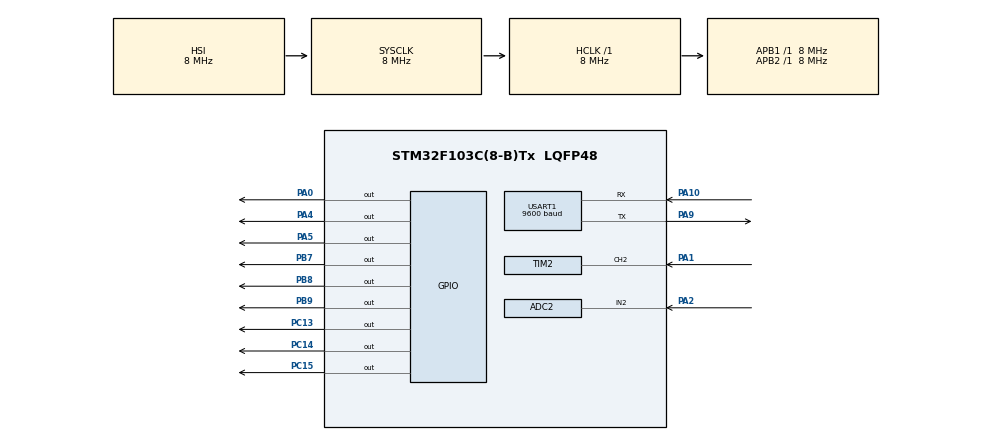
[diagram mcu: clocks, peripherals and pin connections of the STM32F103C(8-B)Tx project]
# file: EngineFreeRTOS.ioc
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ADC2.Channel-3\#ChannelRegularConversion=ADC_CHANNEL_2
ADC2.ContinuousConvMode=ENABLE
ADC2.EnableRegularConversion=ENABLE
ADC2.InjNumberOfConversion=0
ADC2.NbrOfConversion=1
ADC2.NbrOfConversionFlag=1
ADC2.Rank-3\#ChannelRegularConversion=1
ADC2.SamplingTime-3\#ChannelRegularConversion=ADC_SAMPLETIME_28CYCLES_5
FREERTOS.Tasks01=defaultTask,0,128,StartDefaultTask,Default,NULL
Mcu.Family=STM32F1
Mcu.Name=STM32F103C(8-B)Tx
Mcu.Package=LQFP48
NVIC.PriorityGroup=NVIC_PRIORITYGROUP_4
NVIC.TIM2_IRQn=true\:5\:0\:false\:false\:true\:true
PA0-WKUP.PinState=GPIO_PIN_SET
PA0-WKUP.Signal=GPIO_Output
PA1.Signal=S_TIM2_CH2
PA10.Mode=Asynchronous
PA10.Signal=USART1_RX
PA13.Mode=Serial_Wire
PA13.Signal=SYS_JTMS-SWDIO
PA14.Mode=Serial_Wire
PA14.Signal=SYS_JTCK-SWCLK
PA2.Signal=ADCx_IN2
PA4.GPIO_ModeDefaultOutputPP=GPIO_MODE_OUTPUT_PP
PA4.PinState=GPIO_PIN_SET
PA4.Signal=GPIO_Output
PA5.GPIO_ModeDefaultOutputPP=GPIO_MODE_OUTPUT_PP
PA5.PinState=GPIO_PIN_SET
PA5.Signal=GPIO_Output
PA9.Mode=Asynchronous
PA9.Signal=USART1_TX
PB7.Signal=GPIO_Output
PB8.Signal=GPIO_Output
PB9.Signal=GPIO_Output
PC13-TAMPER-RTC.Signal=GPIO_Output
PC14-OSC32_IN.Signal=GPIO_Output
PC15-OSC32_OUT.PinState=GPIO_PIN_SET
PC15-OSC32_OUT.Signal=GPIO_Output
ProjectManager.HeapSize=0x200
ProjectManager.StackSize=0x400
ProjectManager.TargetToolchain=TrueSTUDIO
RCC.AHBFreq_Value=8000000
RCC.APB1Freq_Value=8000000
RCC.APB1TimFreq_Value=8000000
RCC.APB2Freq_Value=8000000
RCC.APB2TimFreq_Value=8000000
RCC.HCLKFreq_Value=8000000
RCC.PLLMUL=RCC_PLL_MUL3
RCC.SYSCLKFreq_VALUE=8000000
RCC.USBFreq_Value=12000000
SH.ADCx_IN2.0=ADC2_IN2,IN2
SH.S_TIM2_CH2.0=TIM2_CH2,Input_Capture2_from_TI2
TIM2.Channel-Input_Capture2_from_TI2=TIM_CHANNEL_2
TIM2.Channel-Output\ Compare3\ No\ Output=TIM_CHANNEL_3
TIM2.Channel-Output\ Compare4\ No\ Output=TIM_CHANNEL_4
TIM2.ICFilter_CH2=15
TIM2.OCMode_3=TIM_OCMODE_ACTIVE
TIM2.OCMode_4=TIM_OCMODE_ACTIVE
TIM2.Period=65535
TIM2.Prescaler=79
TIM2.Pulse-Output\ Compare3\ No\ Output=0
TIM2.TIM_MasterOutputTrigger=TIM_TRGO_RESET
USART1.BaudRate=9600
USART1.Mode=MODE_TX_RX
VP_FREERTOS_VS_ENABLE.Mode=Enabled
VP_TIM2_VS_no_output3.Mode=Output Compare3 No Output
VP_TIM2_VS_no_output4.Mode=Output Compare4 No Output
board=EngineFreeRTOS

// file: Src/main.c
/**
  ******************************************************************************
  * File Name          : main.c
  * Description        : Main program body
  ******************************************************************************
  *
  * Copyright (c) 2017 STMicroelectronics International N.V.
  * All rights reserved.
  *
  * Redistribution and use in source and binary forms, with or without
  * modification, are permitted, provided that the following conditions are met:
  *
  * 1. Redistribution of source code must retain the above copyright notice,
  *    this list of conditions and the following disclaimer.
  * 2. Redistributions in binary form must reproduce the above copyright notice,
  *    this list of conditions and the following disclaimer in the documentation
  *    and/or other materials provided with the distribution.
  * 3. Neither the name of STMicroelectronics nor the names of other
  *    contributors to this software may be used to endorse or promote products
  *    derived from this software without specific written permission.
  * 4. This software, including modifications and/or derivative works of this
  *    software, must execute solely and exclusively on microcontroller or
  *    microprocessor devices manufactured by or for STMicroelectronics.
  * 5. Redistribution and use of this software other than as permitted under
  *    this license is void and will automatically terminate your rights under
  *    this license.
  *
  * THIS SOFTWARE IS PROVIDED BY STMICROELECTRONICS AND CONTRIBUTORS "AS IS"
  * AND ANY EXPRESS, IMPLIED OR STATUTORY WARRANTIES, INCLUDING, BUT NOT
  * LIMITED TO, THE IMPLIED WARRANTIES OF MERCHANTABILITY, FITNESS FOR A
  * PARTICULAR PURPOSE AND NON-INFRINGEMENT OF THIRD PARTY INTELLECTUAL PROPERTY
  * RIGHTS ARE DISCLAIMED TO THE FULLEST EXTENT PERMITTED BY LAW. IN NO EVENT
  * SHALL STMICROELECTRONICS OR CONTRIBUTORS BE LIABLE FOR ANY DIRECT, INDIRECT,
  * INCIDENTAL, SPECIAL, EXEMPLARY, OR CONSEQUENTIAL DAMAGES (INCLUDING, BUT NOT
  * LIMITED TO, PROCUREMENT OF SUBSTITUTE GOODS OR SERVICES; LOSS OF USE, DATA,
  * OR PROFITS; OR BUSINESS INTERRUPTION) HOWEVER CAUSED AND ON ANY THEORY OF
  * LIABILITY, WHETHER IN CONTRACT, STRICT LIABILITY, OR TORT (INCLUDING
  * NEGLIGENCE OR OTHERWISE) ARISING IN ANY WAY OUT OF THE USE OF THIS SOFTWARE,
  * EVEN IF ADVISED OF THE POSSIBILITY OF SUCH DAMAGE.
  *
  ******************************************************************************
  */
#include "main.h"
#include "stm32f1xx_hal.h"
#include "cmsis_os.h"

/* USER CODE BEGIN Includes */
//#define configSUPPORT_DYNAMIC_ALLOCATION  1
#include "leds.h"
#include "buttons.h"
#include "engine.h"
/* USER CODE END Includes */

ADC_HandleTypeDef hadc2;

TIM_HandleTypeDef htim2;

UART_HandleTypeDef huart1;

osThreadId defaultTaskHandle;

/* USER CODE BEGIN PV */
/* Private variables ---------------------------------------------------------*/
xQueueHandle semistorCompareQueue;
osThreadId handleMainButtonTask;
osThreadId handleMainEngineTask;
uint8_t transmitBuffer[64];
/* USER CODE END PV */

void SystemClock_Config(void);
void Error_Handler(void);
static void MX_GPIO_Init(void);
static void MX_TIM2_Init(void);
static void MX_USART1_UART_Init(void);
static void MX_ADC2_Init(void);
void StartDefaultTask(void const * argument);

/* USER CODE BEGIN PFP */
/* Private function prototypes -----------------------------------------------*/

/* USER CODE END PFP */

int main(void)
{

  /* MCU Configuration----------------------------------------------------------*/

  /* Reset of all peripherals, Initializes the Flash interface and the Systick. */
  HAL_Init();

  /* Configure the system clock */
  SystemClock_Config();

  /* Initialize all configured peripherals */
  MX_GPIO_Init();
  MX_TIM2_Init();
  MX_USART1_UART_Init();
  MX_ADC2_Init();

  /* USER CODE BEGIN 2 */
	semistorCompareQueue = xQueueCreate(2, sizeof(uint32_t));

	HAL_TIM_Base_Start_IT(&htim2);
//	HAL_TIM_Base_Start(&htim3);
//	HAL_TIM_PWM_Start(&htim3, TIM_CHANNEL_1);
	HAL_TIM_IC_Start_IT(&htim2, TIM_CHANNEL_2);
	HAL_TIM_OC_Start_IT(&htim2, TIM_CHANNEL_3);
	HAL_TIM_OC_Start_IT(&htim2, TIM_CHANNEL_4);

	HAL_ADCEx_Calibration_Start(&hadc2);
	HAL_ADC_Start(&hadc2);
  /* USER CODE END 2 */

  /* USER CODE BEGIN RTOS_SEMAPHORES */
	/* add semaphores, ... */
	//vSemaphoreCreateBinary(zeroCross);
  /* USER CODE END RTOS_SEMAPHORES */

  /* Create the thread(s) */
  /* definition and creation of defaultTask */
  osThreadDef(defaultTask, StartDefaultTask, osPriorityNormal, 0, 128);
  defaultTaskHandle = osThreadCreate(osThread(defaultTask), NULL);

  /* USER CODE BEGIN RTOS_THREADS */
	  /* add threads, ... */
	osThreadDef(mainButtonTask, StartMainButtonTask, osPriorityNormal, 0, 128);
	handleMainButtonTask = osThreadCreate(osThread(mainButtonTask), &hadc2);

	osThreadDef(mainEngineTask, StartMainEngineTask, osPriorityNormal, 0, 128);
	handleMainEngineTask = osThreadCreate(osThread(mainEngineTask), NULL);
  /* USER CODE END RTOS_THREADS */

  /* Start scheduler */
  osKernelStart();

  /* We should never get here as control is now taken by the scheduler */

  /* Infinite loop */
	while (1)
	{

	}

}

/** System Clock Configuration
*/
void SystemClock_Config(void)
{

  RCC_OscInitTypeDef RCC_OscInitStruct;
  RCC_ClkInitTypeDef RCC_ClkInitStruct;
  RCC_PeriphCLKInitTypeDef PeriphClkInit;

    /**Initializes the CPU, AHB and APB busses clocks
    */
  RCC_OscInitStruct.OscillatorType = RCC_OSCILLATORTYPE_HSI;
  RCC_OscInitStruct.HSIState = RCC_HSI_ON;
  RCC_OscInitStruct.HSICalibrationValue = 16;
  RCC_OscInitStruct.PLL.PLLState = RCC_PLL_NONE;
  if (HAL_RCC_OscConfig(&RCC_OscInitStruct) != HAL_OK)
  {
    Error_Handler();
  }

    /**Initializes the CPU, AHB and APB busses clocks
    */
  RCC_ClkInitStruct.ClockType = RCC_CLOCKTYPE_HCLK|RCC_CLOCKTYPE_SYSCLK
                              |RCC_CLOCKTYPE_PCLK1|RCC_CLOCKTYPE_PCLK2;
  RCC_ClkInitStruct.SYSCLKSource = RCC_SYSCLKSOURCE_HSI;
  RCC_ClkInitStruct.AHBCLKDivider = RCC_SYSCLK_DIV1;
  RCC_ClkInitStruct.APB1CLKDivider = RCC_HCLK_DIV1;
  RCC_ClkInitStruct.APB2CLKDivider = RCC_HCLK_DIV1;

  if (HAL_RCC_ClockConfig(&RCC_ClkInitStruct, FLASH_LATENCY_0) != HAL_OK)
  {
    Error_Handler();
  }

  PeriphClkInit.PeriphClockSelection = RCC_PERIPHCLK_ADC;
  PeriphClkInit.AdcClockSelection = RCC_ADCPCLK2_DIV2;
  if (HAL_RCCEx_PeriphCLKConfig(&PeriphClkInit) != HAL_OK)
  {
    Error_Handler();
  }

    /**Configure the Systick interrupt time
    */
  HAL_SYSTICK_Config(HAL_RCC_GetHCLKFreq()/1000);

    /**Configure the Systick
    */
  HAL_SYSTICK_CLKSourceConfig(SYSTICK_CLKSOURCE_HCLK);

  /* SysTick_IRQn interrupt configuration */
  HAL_NVIC_SetPriority(SysTick_IRQn, 15, 0);
}

/* ADC2 init function */
static void MX_ADC2_Init(void)
{

  ADC_ChannelConfTypeDef sConfig;

    /**Common config
    */
  hadc2.Instance = ADC2;
  hadc2.Init.ScanConvMode = ADC_SCAN_DISABLE;
  hadc2.Init.ContinuousConvMode = ENABLE;
  hadc2.Init.DiscontinuousConvMode = DISABLE;
  hadc2.Init.ExternalTrigConv = ADC_SOFTWARE_START;
  hadc2.Init.DataAlign = ADC_DATAALIGN_RIGHT;
  hadc2.Init.NbrOfConversion = 1;
  if (HAL_ADC_Init(&hadc2) != HAL_OK)
  {
    Error_Handler();
  }

    /**Configure Regular Channel
    */
  sConfig.Channel = ADC_CHANNEL_2;
  sConfig.Rank = 1;
  sConfig.SamplingTime = ADC_SAMPLETIME_28CYCLES_5;
  if (HAL_ADC_ConfigChannel(&hadc2, &sConfig) != HAL_OK)
  {
    Error_Handler();
  }

}

/* TIM2 init function */
static void MX_TIM2_Init(void)
{

  TIM_MasterConfigTypeDef sMasterConfig;
  TIM_IC_InitTypeDef sConfigIC;
  TIM_OC_InitTypeDef sConfigOC;

  htim2.Instance = TIM2;
  htim2.Init.Prescaler = 79;
  htim2.Init.CounterMode = TIM_COUNTERMODE_UP;
  htim2.Init.Period = 65535;
  htim2.Init.ClockDivision = TIM_CLOCKDIVISION_DIV1;
  if (HAL_TIM_IC_Init(&htim2) != HAL_OK)
  {
    Error_Handler();
  }

  if (HAL_TIM_OC_Init(&htim2) != HAL_OK)
  {
    Error_Handler();
  }

  sMasterConfig.MasterOutputTrigger = TIM_TRGO_RESET;
  sMasterConfig.MasterSlaveMode = TIM_MASTERSLAVEMODE_DISABLE;
  if (HAL_TIMEx_MasterConfigSynchronization(&htim2, &sMasterConfig) != HAL_OK)
  {
    Error_Handler();
  }

  sConfigIC.ICPolarity = TIM_INPUTCHANNELPOLARITY_RISING;
  sConfigIC.ICSelection = TIM_ICSELECTION_DIRECTTI;
  sConfigIC.ICPrescaler = TIM_ICPSC_DIV1;
  sConfigIC.ICFilter = 15;
  if (HAL_TIM_IC_ConfigChannel(&htim2, &sConfigIC, TIM_CHANNEL_2) != HAL_OK)
  {
    Error_Handler();
  }

  sConfigOC.OCMode = TIM_OCMODE_ACTIVE;
  sConfigOC.Pulse = 0;
  sConfigOC.OCPolarity = TIM_OCPOLARITY_HIGH;
  sConfigOC.OCFastMode = TIM_OCFAST_DISABLE;
  if (HAL_TIM_OC_ConfigChannel(&htim2, &sConfigOC, TIM_CHANNEL_3) != HAL_OK)
  {
    Error_Handler();
  }

  if (HAL_TIM_OC_ConfigChannel(&htim2, &sConfigOC, TIM_CHANNEL_4) != HAL_OK)
  {
    Error_Handler();
  }

}

/* USART1 init function */
static void MX_USART1_UART_Init(void)
{

  huart1.Instance = USART1;
  huart1.Init.BaudRate = 9600;
  huart1.Init.WordLength = UART_WORDLENGTH_8B;
  huart1.Init.StopBits = UART_STOPBITS_1;
  huart1.Init.Parity = UART_PARITY_NONE;
  huart1.Init.Mode = UART_MODE_TX_RX;
  huart1.Init.HwFlowCtl = UART_HWCONTROL_NONE;
  huart1.Init.OverSampling = UART_OVERSAMPLING_16;
  if (HAL_UART_Init(&huart1) != HAL_OK)
  {
    Error_Handler();
  }

}

/** Configure pins as
        * Analog
        * Input
        * Output
        * EVENT_OUT
        * EXTI
*/
static void MX_GPIO_Init(void)
{

  GPIO_InitTypeDef GPIO_InitStruct;

  /* GPIO Ports Clock Enable */
  __HAL_RCC_GPIOC_CLK_ENABLE();
  __HAL_RCC_GPIOA_CLK_ENABLE();
  __HAL_RCC_GPIOB_CLK_ENABLE();

  /*Configure GPIO pin Output Level */
  HAL_GPIO_WritePin(GPIOC, GPIO_PIN_13|GPIO_PIN_14, GPIO_PIN_RESET);

  /*Configure GPIO pin Output Level */
  HAL_GPIO_WritePin(GPIOC, GPIO_PIN_15, GPIO_PIN_SET);

  /*Configure GPIO pin Output Level */
  HAL_GPIO_WritePin(GPIOA, GPIO_PIN_0|GPIO_PIN_4|GPIO_PIN_5, GPIO_PIN_SET);

  /*Configure GPIO pin Output Level */
  HAL_GPIO_WritePin(GPIOB, GPIO_PIN_7|GPIO_PIN_8|GPIO_PIN_9, GPIO_PIN_RESET);

  /*Configure GPIO pins : PC13 PC14 PC15 */
  GPIO_InitStruct.Pin = GPIO_PIN_13|GPIO_PIN_14|GPIO_PIN_15;
  GPIO_InitStruct.Mode = GPIO_MODE_OUTPUT_PP;
  GPIO_InitStruct.Speed = GPIO_SPEED_FREQ_LOW;
  HAL_GPIO_Init(GPIOC, &GPIO_InitStruct);

  /*Configure GPIO pins : PA0 PA4 PA5 */
  GPIO_InitStruct.Pin = GPIO_PIN_0|GPIO_PIN_4|GPIO_PIN_5;
  GPIO_InitStruct.Mode = GPIO_MODE_OUTPUT_PP;
  GPIO_InitStruct.Speed = GPIO_SPEED_FREQ_LOW;
  HAL_GPIO_Init(GPIOA, &GPIO_InitStruct);

  /*Configure GPIO pins : PB7 PB8 PB9 */
  GPIO_InitStruct.Pin = GPIO_PIN_7|GPIO_PIN_8|GPIO_PIN_9;
  GPIO_InitStruct.Mode = GPIO_MODE_OUTPUT_PP;
  GPIO_InitStruct.Speed = GPIO_SPEED_FREQ_LOW;
  HAL_GPIO_Init(GPIOB, &GPIO_InitStruct);

}

/* StartDefaultTask function */
void StartDefaultTask(void const * argument)
{

  /* USER CODE BEGIN 5 */
  /* Infinite loop */
	for (;;)
	{
//		HAL_GPIO_WritePin(GPIOC, GPIO_PIN_13, GPIO_PIN_RESET);

//		HAL_GPIO_WritePin(GPIOC, GPIO_PIN_13, GPIO_PIN_SET);
//		osDelay(500);
	}
  /* USER CODE END 5 */
}

void Error_Handler(void)
{
	while (1)
	{
	}
}

/************************ (C) COPYRIGHT STMicroelectronics *****END OF FILE****/
